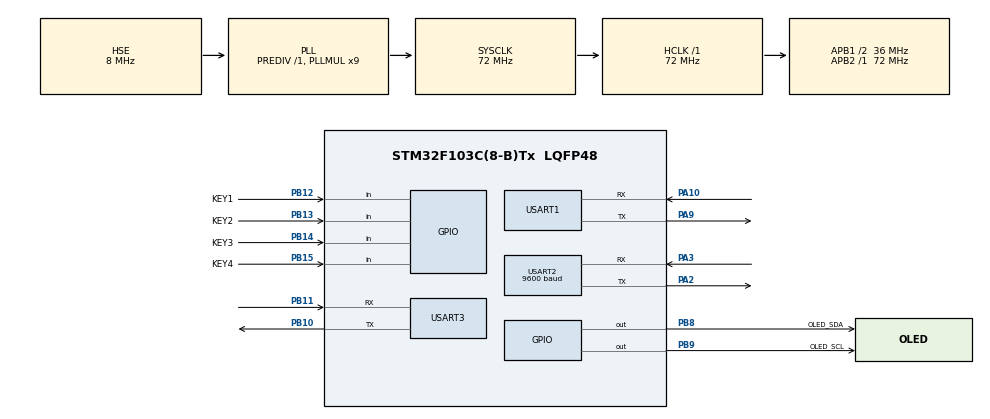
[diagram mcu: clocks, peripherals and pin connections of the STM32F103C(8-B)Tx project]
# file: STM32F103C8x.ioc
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IWDG.Prescaler=IWDG_PRESCALER_32
IWDG.Reload=2048
Mcu.Family=STM32F1
Mcu.Name=STM32F103C(8-B)Tx
Mcu.Package=LQFP48
NVIC.PriorityGroup=NVIC_PRIORITYGROUP_4
NVIC.TIM2_IRQn=true\:1\:0\:true\:true\:true\:1\:true\:true\:true
NVIC.TIM4_IRQn=true\:0\:0\:false\:false\:true\:true\:true\:true
NVIC.USART2_IRQn=true\:0\:0\:false\:true\:true\:2\:true\:true\:true
NVIC.USART3_IRQn=true\:0\:0\:false\:false\:true\:true\:true\:true
PA10.Mode=Asynchronous
PA10.Signal=USART1_RX
PA13.Mode=Serial_Wire
PA13.Signal=SYS_JTMS-SWDIO
PA14.Mode=Serial_Wire
PA14.Signal=SYS_JTCK-SWCLK
PA2.Mode=Asynchronous
PA2.Signal=USART2_TX
PA3.Mode=Asynchronous
PA3.Signal=USART2_RX
PA9.Mode=Asynchronous
PA9.Signal=USART1_TX
PB10.Mode=Asynchronous
PB10.Signal=USART3_TX
PB11.Mode=Asynchronous
PB11.Signal=USART3_RX
PB12.GPIO_Label=KEY1
PB12.GPIO_PuPd=GPIO_PULLUP
PB12.Signal=GPIO_Input
PB13.GPIO_Label=KEY2
PB13.GPIO_PuPd=GPIO_PULLUP
PB13.Signal=GPIO_Input
PB14.GPIO_Label=KEY3
PB14.GPIO_PuPd=GPIO_PULLUP
PB14.Signal=GPIO_Input
PB15.GPIO_Label=KEY4
PB15.GPIO_PuPd=GPIO_PULLUP
PB15.Signal=GPIO_Input
PB8.GPIO_Label=OLED_SDA
PB8.GPIO_ModeDefaultOutputPP=GPIO_MODE_OUTPUT_OD
PB8.GPIO_PuPd=GPIO_NOPULL
PB8.GPIO_Speed=GPIO_SPEED_FREQ_HIGH
PB8.PinState=GPIO_PIN_SET
PB8.Signal=GPIO_Output
PB9.GPIO_Label=OLED_SCL
PB9.GPIO_ModeDefaultOutputPP=GPIO_MODE_OUTPUT_OD
PB9.GPIO_PuPd=GPIO_NOPULL
PB9.GPIO_Speed=GPIO_SPEED_FREQ_HIGH
PB9.PinState=GPIO_PIN_SET
PB9.Signal=GPIO_Output
PD0-OSC_IN.Mode=HSE-External-Oscillator
PD0-OSC_IN.Signal=RCC_OSC_IN
PD1-OSC_OUT.Mode=HSE-External-Oscillator
PD1-OSC_OUT.Signal=RCC_OSC_OUT
ProjectManager.HeapSize=0x800
ProjectManager.StackSize=0x2000
ProjectManager.TargetToolchain=MDK-ARM V5
RCC.AHBFreq_Value=72000000
RCC.APB1CLKDivider=RCC_HCLK_DIV2
RCC.APB1Freq_Value=36000000
RCC.APB1TimFreq_Value=72000000
RCC.APB2Freq_Value=72000000
RCC.APB2TimFreq_Value=72000000
RCC.HCLKFreq_Value=72000000
RCC.PLLMUL=RCC_PLL_MUL9
RCC.PLLSourceVirtual=RCC_PLLSOURCE_HSE
RCC.SYSCLKFreq_VALUE=72000000
RCC.SYSCLKSource=RCC_SYSCLKSOURCE_PLLCLK
RCC.USBFreq_Value=72000000
TIM2.Period=10-1
TIM2.Prescaler=7200-1
TIM4.Period=50-1
TIM4.Prescaler=275
USART1.VirtualMode=VM_ASYNC
USART2.BaudRate=9600
USART2.VirtualMode=VM_ASYNC
USART3.VirtualMode=VM_ASYNC
VP_IWDG_VS_IWDG.Mode=IWDG_Activate
VP_TIM2_VS_ClockSourceINT.Mode=Internal
VP_TIM4_VS_ClockSourceINT.Mode=Internal
board=STM32F103C8x

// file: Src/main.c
/* USER CODE BEGIN Header */
/**
  ******************************************************************************
  * @file           : main.c
  * @brief          : Main program body
  ******************************************************************************
  * @attention
  *
  * Copyright (c) 2025 STMicroelectronics.
  * All rights reserved.
  *
  * This software is licensed under terms that can be found in the LICENSE file
  * in the root directory of this software component.
  * If no LICENSE file comes with this software, it is provided AS-IS.
  *
  ******************************************************************************
  */
/* USER CODE END Header */
#include "main.h"
#include "iwdg.h"
#include "tim.h"
#include "usart.h"
#include "gpio.h"

/* USER CODE BEGIN Includes */
#include "hal_key.h"
#include "gizwits_product.h"
#include "common.h"
#include "key.h"
#include "OLED_NEW.H"
DATA data;
/* USER CODE END Includes */

/* USER CODE BEGIN PTD */
int Temp;       //温度   数值
int Hum;        //湿度
int gz_value;        //光强
int MQ2_value;       //烟雾
int MQ135_value;     //空气质量
int ID=0;            //设备ID

uint8_t page=0;          //页面

uint16_t Send_time=0;   //发送计数
uint8_t oled_buff[20];     //OLED缓冲区

/* USER CODE END PTD */

/* USER CODE BEGIN PV */
/* Private variables ---------------------------------------------------------*/

/* USER CODE END PV */

void SystemClock_Config(void);
static void MX_NVIC_Init(void);
/* USER CODE BEGIN PFP */
/* Private function prototypes -----------------------------------------------*/

/* USER CODE END PFP */

/* USER CODE BEGIN 0 */

void  Display(void);   //显示
//事件处理函数
void Modbus_Event(void);
/**
* key1 short press handle
* @param none
* @return none
*/
void key1ShortPress(void)
{
    //GIZWITS_LOG("KEY1 PRESS ,Production Mode\n");
    gizwitsSetMode(WIFI_PRODUCTION_TEST);
}

/**
* key1 long press handle
* @param none
* @return none
*/
void key1LongPress(void)
{
    //GIZWITS_LOG("KEY1 PRESS LONG ,Wifi Reset\n");
    gizwitsSetMode(WIFI_RESET_MODE);

}

/**
* key2 short press handle
* @param none
* @return none
*/
void key2ShortPress(void)
{
    //GIZWITS_LOG("KEY2 PRESS ,Soft AP mode\n");
    #if !MODULE_TYPE
    gizwitsSetMode(WIFI_SOFTAP_MODE);
    #endif
}

/**
* key2 long press handle
* @param none
* @return none
*/
void key2LongPress(void)
{
    //AirLink mode
    //GIZWITS_LOG("KEY2 PRESS LONG ,AirLink mode\n");
    #if !MODULE_TYPE
    gizwitsSetMode(WIFI_AIRLINK_MODE);
    #endif
}

/* USER CODE END 0 */

int main(void)
{
  /* USER CODE BEGIN 1 */
uint8_t key=0;      //按键值
  /* USER CODE END 1 */

  /* MCU Configuration--------------------------------------------------------*/

  /* Reset of all peripherals, Initializes the Flash interface and the Systick. */
  HAL_Init();

  /* Configure the system clock */
  SystemClock_Config();

  /* Initialize all configured peripherals */
  MX_GPIO_Init();
  MX_TIM2_Init();
  MX_USART1_UART_Init();
  MX_USART2_UART_Init();
  MX_USART3_UART_Init();
  MX_TIM4_Init();
  MX_IWDG_Init();

  /* Initialize interrupts */
  MX_NVIC_Init();
  /* USER CODE BEGIN 2 */
    OLED_Init();		 //OLED初始化
    OLED_Clear();		 //OLED清屏

    Oled_ShowCHinese(20,2,(uint8_t *)"系统初始化");

    timerInit();
    uartInit();

    userInit();
    gizwitsInit();
	HAL_TIM_Base_Start_IT(&htim4);   //使能定时器4   接收数据
  /* USER CODE END 2 */

  /* Infinite loop */
  /* USER CODE BEGIN WHILE */
    while (1)
    {
		HAL_IWDG_Refresh (&hiwdg);       //喂狗
		key=KEY_Scan(0);   //0短按   1长按
		if(key==2) key2LongPress();   //一键配网
		else if(key==4)
		{
	    	page=~page;      //页面
			OLED_Clear();		 //OLED清屏
		}
		Display();   //显示

    /* USER CODE END WHILE */

    /* USER CODE BEGIN 3 */
        userHandle();
		if(Send_time>=200)
		{
		   gizwitsHandle((dataPoint_t *)&currentDataPoint);  //数据上传至机智云
			Send_time=0;   //清零
		}
    }
  /* USER CODE END 3 */
}

void SystemClock_Config(void)
{
  RCC_OscInitTypeDef RCC_OscInitStruct = {0};
  RCC_ClkInitTypeDef RCC_ClkInitStruct = {0};

  /** Initializes the RCC Oscillators according to the specified parameters
  * in the RCC_OscInitTypeDef structure.
  */
  RCC_OscInitStruct.OscillatorType = RCC_OSCILLATORTYPE_LSI|RCC_OSCILLATORTYPE_HSE;
  RCC_OscInitStruct.HSEState = RCC_HSE_ON;
  RCC_OscInitStruct.HSEPredivValue = RCC_HSE_PREDIV_DIV1;
  RCC_OscInitStruct.HSIState = RCC_HSI_ON;
  RCC_OscInitStruct.LSIState = RCC_LSI_ON;
  RCC_OscInitStruct.PLL.PLLState = RCC_PLL_ON;
  RCC_OscInitStruct.PLL.PLLSource = RCC_PLLSOURCE_HSE;
  RCC_OscInitStruct.PLL.PLLMUL = RCC_PLL_MUL9;
  if (HAL_RCC_OscConfig(&RCC_OscInitStruct) != HAL_OK)
  {
    Error_Handler();
  }

  /** Initializes the CPU, AHB and APB buses clocks
  */
  RCC_ClkInitStruct.ClockType = RCC_CLOCKTYPE_HCLK|RCC_CLOCKTYPE_SYSCLK
                              |RCC_CLOCKTYPE_PCLK1|RCC_CLOCKTYPE_PCLK2;
  RCC_ClkInitStruct.SYSCLKSource = RCC_SYSCLKSOURCE_PLLCLK;
  RCC_ClkInitStruct.AHBCLKDivider = RCC_SYSCLK_DIV1;
  RCC_ClkInitStruct.APB1CLKDivider = RCC_HCLK_DIV2;
  RCC_ClkInitStruct.APB2CLKDivider = RCC_HCLK_DIV1;

  if (HAL_RCC_ClockConfig(&RCC_ClkInitStruct, FLASH_LATENCY_2) != HAL_OK)
  {
    Error_Handler();
  }
}

/**
  * @brief NVIC Configuration.
  * @retval None
  */
static void MX_NVIC_Init(void)
{
  /* TIM2_IRQn interrupt configuration */
  HAL_NVIC_SetPriority(TIM2_IRQn, 1, 0);
  HAL_NVIC_EnableIRQ(TIM2_IRQn);
  /* USART2_IRQn interrupt configuration */
  HAL_NVIC_SetPriority(USART2_IRQn, 0, 0);
  HAL_NVIC_EnableIRQ(USART2_IRQn);
}

/* USER CODE BEGIN 4 */
void  Display(void)   //显示
{
	sprintf ((char *)oled_buff,"     ");       //清该位置的屏
	Oled_ShowString(0,0,oled_buff);      //
	Oled_ShowCHinese(40,0,(uint8_t *)"协调器");
	sprintf ((char *)oled_buff,"     ");       //清该位置的屏
	Oled_ShowString(88,0,oled_buff);      //

	Oled_ShowCHinese(0,2,(uint8_t *)"温度");
	sprintf ((char *)oled_buff,":%2d C",Temp);
	Oled_ShowString(32,2,oled_buff);      //

	sprintf ((char *)oled_buff,"  ID:%2d",ID);       //设备ID
	Oled_ShowString(72,2,oled_buff);      //

	if(page==0)
	{
		Oled_ShowCHinese(0,4,(uint8_t *)"湿度");
		sprintf ((char *)oled_buff,":%2d %%",Hum);
		Oled_ShowString(32,4,oled_buff);      //
		sprintf ((char *)oled_buff,"      "); //清该位置的屏
		Oled_ShowString(80,4,oled_buff);      //

		Oled_ShowCHinese(0,6,(uint8_t *)"烟雾");
		sprintf ((char *)oled_buff,": %4d  ppm ",MQ2_value);
		Oled_ShowString(32,6,oled_buff);      //烟雾
	}
	else
	{
		Oled_ShowCHinese(0,4,(uint8_t *)"光照强度");
		sprintf ((char *)oled_buff,"%4dppm",gz_value);
		Oled_ShowString(66,4,oled_buff);      //光强

		Oled_ShowCHinese(0,6,(uint8_t *)"空气质量");
		sprintf ((char *)oled_buff,"%4dppm",MQ135_value);
		Oled_ShowString(66,6,oled_buff);      //空气质量
	}
}

//事件处理函数
void Modbus_Event(void)
{
  //数据处理
  if(sscanf((char *)data.rcbuf,"Zigbee:{\"Temp\":%d,\"Hum\":%d,\"gz_value\":%d,\"MQ2_value\":%d}",
   &Temp,&Hum,&gz_value,&MQ2_value)==4)    //获取数据
	{
	   currentDataPoint.valueTemp = Temp;//温度
	   currentDataPoint.valueHumi =Hum ;//湿度
	   currentDataPoint.valueLinht_value = gz_value;//光强
	   currentDataPoint.valueMQ2_value =MQ2_value ;//烟雾
	}
	else  if(sscanf((char *)data.rcbuf,"Zigbee:{\"MQ135_value\":%d,\"ID\":%d}",&MQ135_value,&ID)==2)    //获取数据
	{
	   currentDataPoint.valueMQ135_value = MQ135_value;//空气质量
	   currentDataPoint.valueID =ID ;// //设备ID
	}
	else printf("Zigbee_Error\r\n");
    data.recount = 0;//接收计数清零
    data.reflag = 0; //接收标志清零
}

void HAL_TIM_PeriodElapsedCallback(TIM_HandleTypeDef *htim)
{
  if(htim==&htim2)
  {
	keyHandle();
	gizTimerMs();
	Send_time++;    //发送计数
  }
 if(htim->Instance==TIM4)
 {
	if(data.timrun != 0)//运行时间！=0表明
	 {
		data.timout++;
		if(data.timout >=35) //大于1750us
		{
		  data.timrun = 0;
		  data.reflag = 1;    //接收数据完毕
		  data.timout = 0;    //超时时间 单位：ms
		  Modbus_Event();    //Zigbee数据处理
		}
	 }
 }
}

/* USER CODE END 4 */

void Error_Handler(void)
{
    while(1)
    {
    }
}
